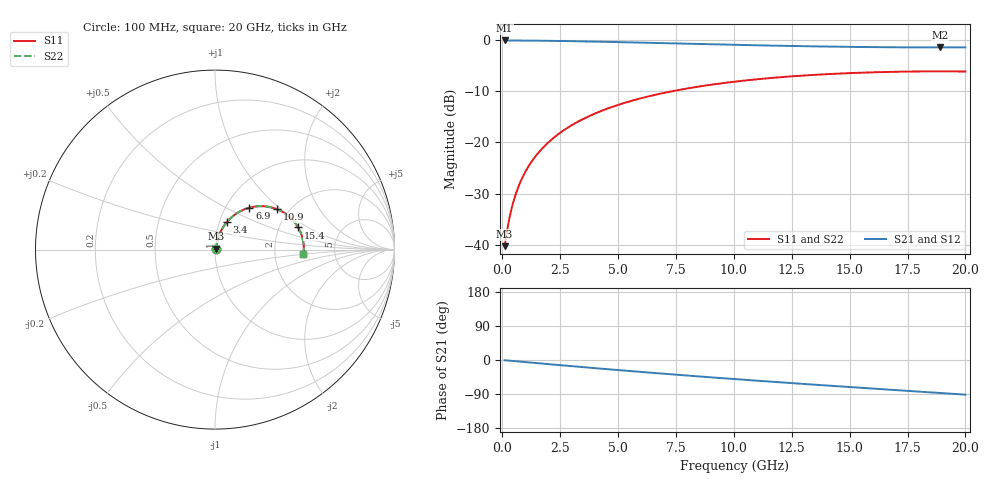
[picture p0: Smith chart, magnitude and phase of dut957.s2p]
! Touchstone file exported from HFSS 2026.1.0
!  File:  C:/ffzhzh/LocalFiles/Ansys_Project_Files/temp_train_TSV_RDL_957_1783284049_38820.aedt
!  Generated:  04:52:28 AM Jul  6, 2026
!  Design:  TSV_RDL
!  Project:  temp_train_TSV_RDL_957_1783284049_38820
! Variables:
!  h_bsmrdl = 5.69um
!  h_ox = 20um
!  h_rdl = 5um
!  h_sub = 71.89um
!  h_tmrdl = 5.11um
!  h_tsv = 71.89um
!  h_via = 3um
!  l_bsmrdl = 190.66um
!  l_sub = 1480.55um
!  l_tmrdl = 108.64um
!  m_sub = 200um
!  pitch = 36.1um
!  r_tsv = 5.25um
!  s_tmrdl = 10um
!  w_bsmrdl = 12.4um
!  w_sub = 500um
!  w_tmrdl = 12.27um
!  x_tsv_center1 = 114.775um
!  x_tsv_center2 = 317.835um
!  x_tsv_center3 = 438.745um
!  x_tsv_center4 = 641.805um
!  x_tsv_center5 = 762.715um
!  x_tsv_center6 = 965.775um
# GHz S MA R 50.000000
! Terminal data exported
! Port[1] = TM_RDL1_1_T1
! Port[2] = TM_RDL5_1_T1
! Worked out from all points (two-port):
!   200 points, 100 MHz to 20 GHz, reference 50 ohm
!   highest |S21| = -0.07 dB at 100 MHz (marker M1); lowest = -1.4 dB at 18.9 GHz (marker M2)
!   |S21| within 3 dB of the highest: start of sweep to end of sweep
!   lowest |S11| = -40.3 dB at 100 MHz (marker M3), VSWR 1.02, Z = 50.8 + j0.533 ohm
!   |S11| at or under -10 dB: start of sweep to 7.326 GHz
!   |S22| runs from -40.3 to -6.1 dB; largest |S21 - S12| = 1.6e-14
!   S11 on the Smith chart (normalised r, x): 100 MHz: 1.02, +0.01; 3.4 GHz: 1.08, +0.34; 6.9 GHz: 1.28, +0.66; 10.9 GHz: 1.73, +0.94; 15.4 GHz: 2.54, +0.81; 20 GHz: 2.93, -0.19
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0.1  0.009694 32.7  0.9919 -0.6  0.9919 -0.6  0.009694 32.7
! Gamma 0 0 0 0
! Port Impedance 50 0 50 0
0.3  0.01787 60.1  0.9914 -1.7  0.9914 -1.7  0.01787 60.1
0.4  0.02257 65.3  0.9912 -2.2  0.9912 -2.2  0.02257 65.3
0.5  0.02737 68.5  0.9909 -2.8  0.9909 -2.8  0.02737 68.5
0.6  0.03223 70.6  0.9906 -3.3  0.9906 -3.3  0.03223 70.6
0.8  0.04201 72.9  0.99 -4.4  0.99 -4.4  0.04201 72.9
1.1  0.05677 74.2  0.9888 -6.1  0.9888 -6.1  0.05677 74.2
1.5  0.0764 74.1  0.987 -8.3  0.987 -8.3  0.0764 74.1
2  0.1006 72.8  0.984 -11.0  0.984 -11.0  0.1006 72.8
2.6  0.129 70.5  0.9796 -14.2  0.9796 -14.2  0.129 70.5
3.4  0.1654 66.9  0.9727 -18.4  0.9727 -18.4  0.1654 66.9
3.5  0.1698 66.4  0.9718 -18.9  0.9718 -18.9  0.1698 66.4
5  0.2326 59.4  0.9563 -26.6  0.9563 -26.6  0.2326 59.4
6.8  0.2988 51.1  0.9358 -35.4  0.9358 -35.4  0.2988 51.1
6.9  0.3022 50.6  0.9346 -35.9  0.9346 -35.9  0.3022 50.6
10.1  0.394 36.5  0.8985 -50.7  0.8985 -50.7  0.394 36.5
10.9  0.412 33.1  0.8904 -54.2  0.8904 -54.2  0.412 33.1
13.4  0.4564 22.9  0.8687 -64.8  0.8687 -64.8  0.4564 22.9
15.4  0.4795 14.9  0.8565 -73.0  0.8565 -73.0  0.4795 14.9
16.7  0.4888 9.9  0.8513 -78.2  0.8513 -78.2  0.4888 9.9
18.9  0.4949 1.4  0.8479 -87.0  0.8479 -87.0  0.4949 1.4
20  0.4934 -2.9  0.8486 -91.4  0.8486 -91.4  0.4934 -2.9
